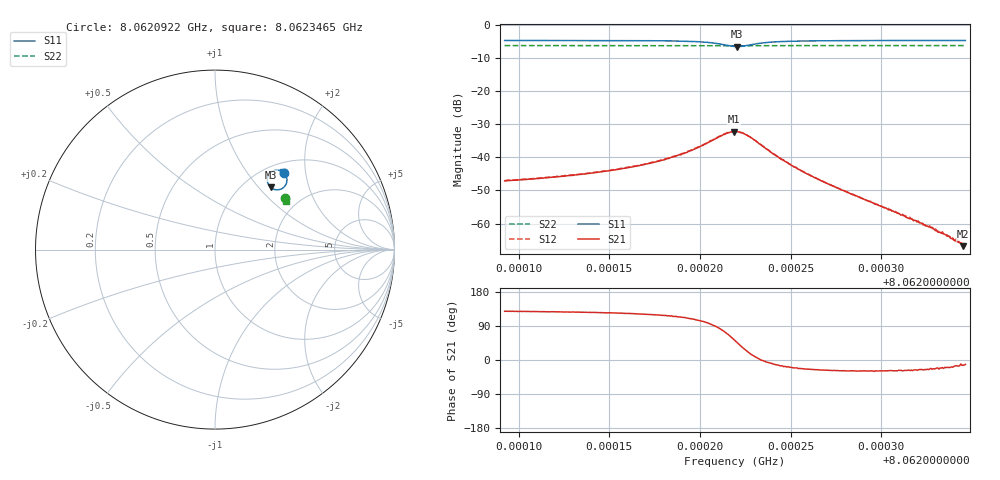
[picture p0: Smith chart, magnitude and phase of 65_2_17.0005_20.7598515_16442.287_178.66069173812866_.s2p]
#  HZ  S  RI  R  50.00
! Rohde & Schwarz Vector Network Analyzer
! Rohde-Schwarz,ZNB20-2Port,1311601062101988,3.16
! Created: UTC 3/20/2024, 10:54:58 PM
! freq[Hz]  re:S11  im:S11  re:S21  im:S21  re:S12  im:S12  re:S22  im:S22
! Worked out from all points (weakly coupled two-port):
!   401 points, 8.0620922 GHz to 8.0623465 GHz, reference 50 ohm
!   highest |S21| = -32.25 dB at 8.0622187 GHz (marker M1); lowest = -66.8 dB at 8.0623452 GHz (marker M2)
!   lowest |S11| = -6.6 dB at 8.0622206 GHz (marker M3), VSWR 2.74, Z = 65.7 + j58.2 ohm
!   |S11| at or under -10 dB: nowhere
!   |S22| runs from -6.4 to -6.3 dB; largest |S21 - S12| = 0.0019
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8.06209221e9  0.3834 0.4289  -0.00274 0.00345  -0.0026 0.00364  0.3886 0.2849
8.0621348e9  0.3891 0.4225  -0.00326 0.00448  -0.00301 0.00476  0.3902 0.2826
8.06215387e9  0.3924 0.4176  -0.00364 0.00541  -0.00332 0.00564  0.3908 0.2815
8.06217739e9  0.3978 0.4064  -0.00419 0.0077  -0.00377 0.00805  0.3917 0.2798
8.06219201e9  0.401 0.3914  -0.00437 0.0108  -0.00372 0.0112  0.392 0.2787
8.06220536e9  0.3941 0.3612  -0.00178 0.017  -0.000608 0.0174  0.3915 0.2768
8.06221426e9  0.3581 0.3343  0.00689 0.0215  0.00849 0.0212  0.39 0.2757
8.06221871e9  0.324 0.3377  0.0143 0.0198  0.0156 0.0188  0.3886 0.2762
8.06221934e9  0.319 0.3403  0.0152 0.0189  0.0167 0.018  0.3885 0.2764
8.06222061e9  0.3102 0.3467  0.017 0.0173  0.0183 0.0161  0.3883 0.2768
8.06222379e9  0.2949 0.3688  0.0196 0.0121  0.0205 0.0108  0.388 0.2777
8.06222697e9  0.2916 0.3924  0.0195 0.00684  0.0201 0.00543  0.3885 0.2787
8.06223523e9  0.3112 0.4299  0.0143 -0.000675  0.0142 -0.00156  0.3901 0.2797
8.06224795e9  0.3395 0.4421  0.00794 -0.0027  0.00787 -0.00304  0.3919 0.279
8.06226193e9  0.3553 0.4419  0.00468 -0.00218  0.00452 -0.00245  0.393 0.2782
8.06227909e9  0.3655 0.4392  0.0028 -0.0015  0.00265 -0.00165  0.394 0.2771
8.06230452e9  0.3735 0.4356  0.00142 -0.000761  0.00137 -0.000908  0.3949 0.2757
8.06232804e9  0.3781 0.4328  0.0008 -0.000364  0.000759 -0.000395  0.3957 0.2744
8.06233058e9  0.3784 0.4327  0.000739 -0.00029  0.000697 -0.000371  0.3959 0.2742
8.06234329e9  0.3804 0.4314  0.000501 -0.000134  0.000491 -0.000149  0.3964 0.2736
8.0623452e9  0.3805 0.4313  0.000444 -0.000107  0.000458 -0.00013  0.3964 0.2735
8.06234647e9  0.3807 0.4311  0.000453 -9.17e-05  0.000452 -0.000111  0.3964 0.2735
